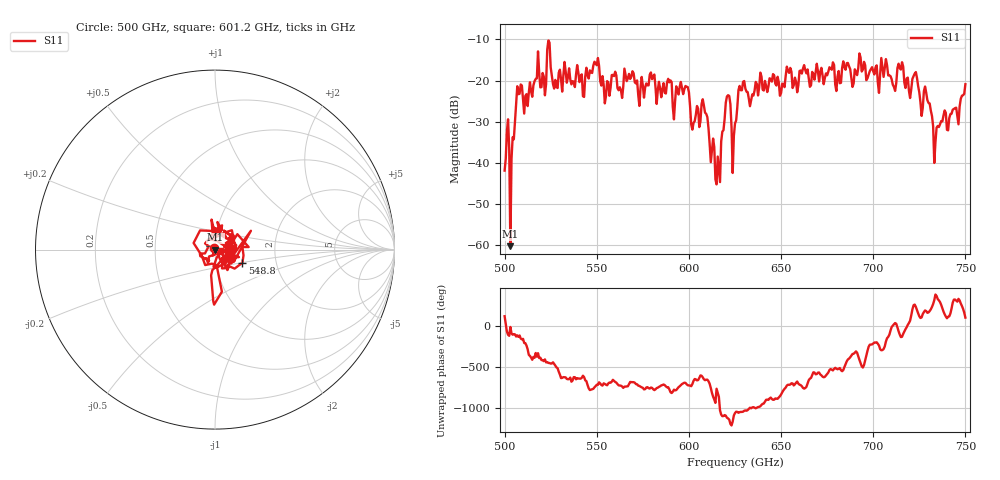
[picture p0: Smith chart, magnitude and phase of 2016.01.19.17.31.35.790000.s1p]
!Created with skrf (http://scikit-rf.org).
# GHz S RI R 50.0
!freq ReS11 ImS11
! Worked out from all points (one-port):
!   401 points, 500 GHz to 750 GHz, reference 50 ohm
!   lowest |S11| = -60.2 dB at 503.1 GHz (marker M1), VSWR 1.00, Z = 50.1 - j0.0258 ohm
!   |S11| at or under -10 dB: start of sweep to end of sweep
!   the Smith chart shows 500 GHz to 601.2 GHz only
!   S11 on the Smith chart (normalised r, x): 500 GHz: 0.99, +0.01; 548.8 GHz: 1.34, -0.20; 601.2 GHz: 1.06, -0.01
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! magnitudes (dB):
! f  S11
! 500 GHz  -41.8
! 503.1 GHz  -60.2
! 504.4 GHz  -33.7
! 505.6 GHz  -30.1
! 508.1 GHz  -23.2
! 521.2 GHz  -19.0
! 524.4 GHz  -10.8
! 527.5 GHz  -19.8
! 531.2 GHz  -22.7
! 548.8 GHz  -15.4
! 562.5 GHz  -21.6
! 568.8 GHz  -19.1
! 593.8 GHz  -22.2
! 598.8 GHz  -21.5
! 601.2 GHz  -30.7
! 608.1 GHz  -26.1
! 615.6 GHz  -38.4
! 621.2 GHz  -23.5
! 625 GHz  -30.4
! 628.8 GHz  -22.3
! 656.2 GHz  -21.8
! 687.5 GHz  -17.2
! 711.2 GHz  -21.6
! 715 GHz  -17.3
! 718.8 GHz  -19.3
! 728.8 GHz  -23.0
! 734.4 GHz  -31.4
! 750 GHz  -20.9
